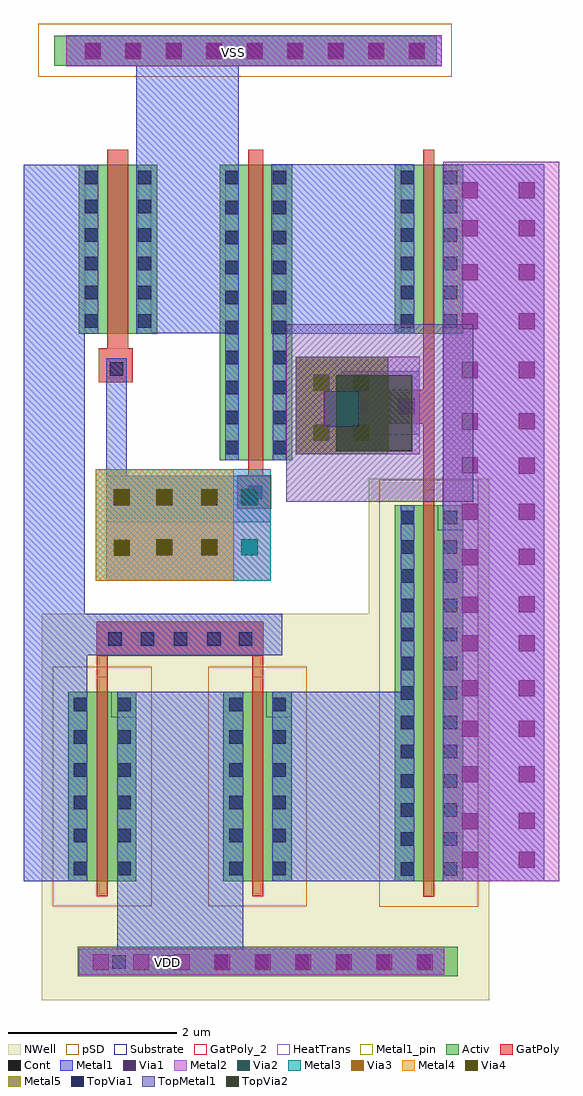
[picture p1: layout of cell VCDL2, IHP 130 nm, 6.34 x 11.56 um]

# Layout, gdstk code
import gdstk
lib = gdstk.Library(unit=1e-6, precision=1e-09)
def R(c, l, rs):  # rectangles x0, y0, x1, y1
    for r in rs: c.add(gdstk.rectangle(r[:2], r[2:], *l))
def A(c, l, x, y, w, h, nx, ny, dx, dy):  # array of equal rectangles
    R(c, l, [(x+i*dx, y+j*dy, x+i*dx+w, y+j*dy+h) for i in range(nx) for j in range(ny)])
def P(c, l, *ps):  # polygons
    for p in ps: c.add(gdstk.Polygon(p, *l))
Activ = (1, 0)
GatPoly = (5, 0)
GatPoly_2 = (5, 2)
Cont = (6, 0)
Metal1 = (8, 0)
Metal1_pin = (8, 2)
Metal2 = (10, 0)
pSD = (14, 0)
Via1 = (19, 0)
Via2 = (29, 0)
Metal3 = (30, 0)
NWell = (31, 0)
Substrate = (40, 0)
Via3 = (49, 0)
Metal4 = (50, 0)
HeatTrans = (51, 0)
Via4 = (66, 0)
Metal5 = (67, 0)
TopVia1 = (125, 0)
TopMetal1 = (126, 0)
TopVia2 = (133, 0)

nmos = lib.new_cell('nmos')
R(nmos, Activ, [(0,0,0.3,0.3), (0,0,0.81,2), (0.51,0,0.81,0.3)])
R(nmos, GatPoly, [(0.34,-0.18,0.47,2.18)])
R(nmos, GatPoly_2, [(0.34,-0.18,0.47,2.18)])
A(nmos, Cont, 0.07, 0.07, 0.16, 0.16, 1, 6, 0, 0.34)
A(nmos, Cont, 0.58, 0.07, 0.16, 0.16, 1, 6, 0, 0.34)
R(nmos, Metal1, [(0.07,0,0.23,2), (0.58,0,0.74,2)])
R(nmos, Metal1_pin, [(0.07,0,0.23,2), (0.58,0,0.74,2)])
R(nmos, HeatTrans, [(0.34,-0.18,0.47,2.18)])
nmos.add(gdstk.Label('nmos', (0.405,1), layer=63, texttype=0))
nmos.add(gdstk.Label('nmos', (0.405,1), layer=51, texttype=0))

nmos_1 = lib.new_cell('nmos$1')
R(nmos_1, Activ, [(0,0,0.3,0.3), (0,0,0.86,3.5), (0.56,0,0.86,0.3)])
R(nmos_1, GatPoly, [(0.34,-0.18,0.52,3.68)])
R(nmos_1, GatPoly_2, [(0.34,-0.18,0.52,3.68)])
A(nmos_1, Cont, 0.07, 0.07, 0.16, 0.16, 1, 9, 0, 0.355)
A(nmos_1, Cont, 0.63, 0.07, 0.16, 0.16, 1, 9, 0, 0.355)
R(nmos_1, Cont, [(0.07,3.27,0.23,3.43), (0.63,3.27,0.79,3.43)])
R(nmos_1, Metal1, [(0.07,0,0.23,3.5), (0.63,0,0.79,3.5)])
R(nmos_1, Metal1_pin, [(0.07,0,0.23,3.5), (0.63,0,0.79,3.5)])
R(nmos_1, HeatTrans, [(0.34,-0.18,0.52,3.68)])
nmos_1.add(gdstk.Label('nmos', (0.43,1.75), layer=63, texttype=0))
nmos_1.add(gdstk.Label('nmos', (0.43,1.75), layer=51, texttype=0))

nmos_2 = lib.new_cell('nmos$2')
R(nmos_2, Activ, [(0,0,0.3,0.3), (0,0,0.93,2), (0.63,0,0.93,0.3)])
R(nmos_2, GatPoly, [(0.34,-0.18,0.59,2.18)])
R(nmos_2, GatPoly_2, [(0.34,-0.18,0.59,2.18)])
A(nmos_2, Cont, 0.07, 0.07, 0.16, 0.16, 1, 6, 0, 0.34)
A(nmos_2, Cont, 0.7, 0.07, 0.16, 0.16, 1, 6, 0, 0.34)
R(nmos_2, Metal1, [(0.07,0,0.23,2), (0.7,0,0.86,2)])
R(nmos_2, Metal1_pin, [(0.07,0,0.23,2), (0.7,0,0.86,2)])
R(nmos_2, HeatTrans, [(0.34,-0.18,0.59,2.18)])
nmos_2.add(gdstk.Label('nmos', (0.465,1), layer=63, texttype=0))
nmos_2.add(gdstk.Label('nmos', (0.465,1), layer=51, texttype=0))

pmos = lib.new_cell('pmos')
R(pmos, Activ, [(0,0,0.3,0.3), (0,0,0.81,4.46), (0.51,0,0.81,0.3)])
R(pmos, GatPoly, [(0.34,-0.18,0.47,4.64), (0.34,-0.18,0.47,4.64)])
A(pmos, Cont, 0.07, 0.07, 0.16, 0.16, 1, 3, 0, 0.345)
A(pmos, Cont, 0.58, 0.07, 0.16, 0.16, 1, 3, 0, 0.345)
A(pmos, Cont, 0.07, 1.11, 0.16, 0.16, 1, 3, 0, 0.345)
A(pmos, Cont, 0.58, 1.11, 0.16, 0.16, 1, 3, 0, 0.345)
A(pmos, Cont, 0.07, 2.15, 0.16, 0.16, 1, 3, 0, 0.345)
A(pmos, Cont, 0.58, 2.15, 0.16, 0.16, 1, 3, 0, 0.345)
A(pmos, Cont, 0.07, 3.19, 0.16, 0.16, 1, 3, 0, 0.345)
A(pmos, Cont, 0.58, 3.19, 0.16, 0.16, 1, 3, 0, 0.345)
R(pmos, Cont, [(0.07,4.23,0.23,4.39), (0.58,4.23,0.74,4.39)])
R(pmos, Metal1, [(0.07,0,0.23,4.46), (0.07,0,0.23,4.46), (0.58,0,0.74,4.46), (0.58,0,0.74,4.46)])
R(pmos, pSD, [(-0.18,-0.3,0.99,4.76)])
R(pmos, NWell, [(-0.31,-0.31,1.12,4.77)])
R(pmos, Substrate, [(0.51,0,0.81,0.3)])
R(pmos, HeatTrans, [(0.34,-0.18,0.47,4.64)])
pmos.add(gdstk.Label('pmos', (0.405,2.23), layer=63, texttype=0))
pmos.add(gdstk.Label('pmos', (0.405,2.23), layer=51, texttype=0))

pmos_1 = lib.new_cell('pmos$1')
R(pmos_1, Activ, [(0,0,0.3,0.3), (0,0,0.81,2.24), (0.51,0,0.81,0.3)])
R(pmos_1, GatPoly, [(0.34,-0.18,0.47,2.42), (0.34,-0.18,0.47,2.42)])
A(pmos_1, Cont, 0.07, 1.23, 0.16, 0.16, 1, 3, 0, 0.39)
A(pmos_1, Cont, 0.58, 1.23, 0.16, 0.16, 1, 3, 0, 0.39)
R(pmos_1, Cont, [(0.07,0.07,0.23,0.23), (0.58,0.07,0.74,0.23), (0.07,0.455,0.23,0.615), (0.58,0.455,0.74,0.615), (0.07,0.845,0.23,1.005), (0.58,0.845,0.74,1.005)])
R(pmos_1, Metal1, [(0.07,0,0.23,2.24), (0.07,0,0.23,2.24), (0.58,0,0.74,2.24), (0.58,0,0.74,2.24)])
R(pmos_1, pSD, [(-0.18,-0.3,0.99,2.54)])
R(pmos_1, NWell, [(-0.31,-0.31,1.12,2.55)])
R(pmos_1, Substrate, [(0.51,0,0.81,0.3)])
R(pmos_1, HeatTrans, [(0.34,-0.18,0.47,2.42)])
pmos_1.add(gdstk.Label('pmos', (0.405,1.12), layer=63, texttype=0))
pmos_1.add(gdstk.Label('pmos', (0.405,1.12), layer=51, texttype=0))

vcdl2 = lib.new_cell('VCDL2')
R(vcdl2, Activ, [(0.64,0.28,5.14,0.63), (0.66,0.305,4.975,0.605), (0.36,11.07,4.895,11.425), (0.575,11.098,2.015,11.398), (0.575,11.098,2.015,11.398), (2.015,11.098,3.455,11.398), (2.015,11.098,3.455,11.398), (3.455,11.098,4.895,11.398), (3.455,11.098,4.895,11.398)])
R(vcdl2, GatPoly, [(0.865,3.83,0.995,4.4), (2.705,3.83,2.835,4.4), (0.865,4.08,2.835,4.48), (1,4.163,2.71,4.403), (2.53,5.82,2.93,6.22), (4.735,6.045,4.865,7.715), (4.33,6.83,4.735,7.23), (0.89,7.32,1.29,7.72)])
R(vcdl2, GatPoly_2, [(0.865,4.08,2.835,4.48)])
A(vcdl2, Cont, 2.255, 0.37, 0.16, 0.16, 6, 1, 0.48, 0)
A(vcdl2, Cont, 1.385, 4.2, 0.16, 0.16, 3, 1, 0.395, 0)
A(vcdl2, Cont, 0.735, 11.17, 0.16, 0.16, 9, 1, 0.48, 0)
R(vcdl2, Cont, [(1.05,0.37,1.21,0.53), (1.63,0.37,1.79,0.53), (1,4.2,1.16,4.36), (2.55,4.2,2.71,4.36), (2.66,5.935,2.82,6.095), (4.45,6.95,4.61,7.11), (1.02,7.395,1.18,7.555), (0.735,11.17,0.895,11.33)])
R(vcdl2, Metal1, [(0.65,0.3,4.98,0.605), (1.04,0.303,1.34,0.603), (1.105,0.6,1.265,1.41), (1.11,0.603,2.6,3.655), (2.435,0.95,2.595,1.41), (1.265,0.953,2.44,1.133), (0,1.405,0.72,9.895), (2.955,1.41,4.47,3.655), (4.965,1.41,6.17,9.905), (3.11,1.833,4.46,2.033), (0.6,3.65,0.755,4.575), (0.755,4.085,3.065,4.575), (1.7,4.163,2.01,4.573), (0,4.753,0.6,5.003), (0,5.003,0.19,9.873), (0.98,5.66,2.925,6.215), (4.965,5.873,5.13,7.903), (0.98,5.883,1.33,6.215), (1.33,5.883,2.88,6.133), (0.98,6.215,1.22,7.605), (3.76,6.7,4.69,7.45), (5.13,6.703,5.43,7.003), (4.37,6.873,4.69,7.193), (2.935,7.895,4.62,9.905), (1.335,7.9,2.55,10.393), (3.1,9.318,4.46,9.518), (0.19,9.653,0.71,9.873), (2.38,9.903,2.54,10.393), (1.5,10.393,2.55,10.553), (1.335,10.553,2.55,11.07), (1.89,10.553,2.05,11.093), (0.505,11.07,4.95,11.428), (0.505,11.07,4.95,11.43), (1.82,11.093,2.12,11.393)])
P(vcdl2, Metal1, [(1.335,9.905),(1.335,10.457),(1.335,10.555),(1.505,10.555),(1.505,9.905)])
R(vcdl2, Metal2, [(0.65,0.3,4.98,0.605), (4.97,1.405,6.345,9.935), (0.975,4.97,2.925,6.215), (3.225,6.465,4.69,7.625), (3.76,6.695,4.69,7.45), (5.13,6.703,5.43,7.003), (5.43,6.723,6.1,6.973), (3.76,6.873,4.69,7.193), (0.505,11.065,4.95,11.43)])
R(vcdl2, pSD, [(0.17,10.94,5.07,11.565), (0.505,11.068,2.085,11.428), (1.945,11.068,4.95,11.428)])
A(vcdl2, Via1, 0.815, 0.355, 0.19, 0.19, 9, 1, 0.48, 0)
A(vcdl2, Via1, 5.19, 7.37, 0.19, 0.19, 1, 3, 0, 0.58)
A(vcdl2, Via1, 5.865, 7.37, 0.19, 0.19, 1, 3, 0, 0.58)
A(vcdl2, Via1, 0.72, 11.15, 0.19, 0.19, 9, 1, 0.48, 0)
R(vcdl2, Via1, [(5.19,1.565,5.38,1.755), (5.865,1.565,6.055,1.755), (5.19,2.025,5.38,2.215), (5.865,2.03,6.055,2.22), (5.19,2.58,5.38,2.77), (5.865,2.58,6.055,2.77), (5.19,3.12,5.38,3.31), (5.865,3.12,6.055,3.31), (5.19,3.6,5.38,3.79), (5.865,3.6,6.055,3.79), (5.19,4.13,5.38,4.32), (5.865,4.13,6.055,4.32), (5.19,4.59,5.38,4.78), (5.865,4.595,6.055,4.785), (5.19,5.15,5.38,5.34), (5.865,5.155,6.055,5.345), (5.19,5.69,5.38,5.88), (5.865,5.69,6.055,5.88), (1.065,5.86,1.255,6.05), (1.57,5.865,1.76,6.055), (2.105,5.865,2.295,6.055), (2.58,5.865,2.77,6.055), (5.865,6.235,6.055,6.425), (5.19,6.24,5.38,6.43), (5.19,6.76,5.38,6.95), (5.865,6.765,6.055,6.955), (3.9,6.94,4.09,7.13), (4.44,6.94,4.63,7.13), (5.19,9.05,5.38,9.24), (5.865,9.05,6.055,9.24), (5.19,9.5,5.38,9.69), (5.865,9.5,6.055,9.69)])
R(vcdl2, Via2, [(1.065,5.265,1.255,5.455), (1.57,5.27,1.76,5.46), (2.105,5.27,2.295,5.46), (2.58,5.27,2.77,5.46), (1.065,5.86,1.255,6.05), (1.57,5.865,1.76,6.055), (2.105,5.865,2.295,6.055), (2.58,5.865,2.77,6.055), (3.43,6.625,3.62,6.815), (3.905,6.625,4.095,6.815), (3.43,7.22,3.62,7.41), (3.905,7.22,4.095,7.41)])
R(vcdl2, Metal3, [(0.855,4.97,2.925,6.29), (3.225,6.465,4.32,7.625)])
R(vcdl2, NWell, [(0.215,0,5.515,3.963), (0.22,0.003,5.505,3.963), (0.22,0.003,5.505,1.103), (0.431,0.078,5.311,0.87), (1.65,1.103,4.08,3.963), (0.215,3.963,4.085,4.575)])
R(vcdl2, Via3, [(1.065,5.265,1.255,5.455), (1.57,5.27,1.76,5.46), (2.105,5.27,2.295,5.46), (1.065,5.86,1.255,6.05), (1.57,5.865,1.76,6.055), (2.105,5.865,2.295,6.055), (3.43,6.625,3.62,6.815), (3.905,6.625,4.095,6.815), (3.43,7.22,3.62,7.41), (3.905,7.22,4.095,7.41)])
R(vcdl2, Metal4, [(0.855,4.97,2.49,6.29), (3.225,6.465,4.32,7.625)])
R(vcdl2, Via4, [(1.065,5.265,1.255,5.455), (1.57,5.27,1.76,5.46), (2.105,5.27,2.295,5.46), (1.065,5.86,1.255,6.05), (1.57,5.865,1.76,6.055), (2.105,5.865,2.295,6.055), (3.43,6.625,3.62,6.815), (3.905,6.625,4.095,6.815), (3.43,7.22,3.62,7.41), (3.905,7.22,4.095,7.41)])
R(vcdl2, Metal5, [(1.065,5.265,1.255,5.455), (3.225,6.465,4.32,7.62)])
R(vcdl2, TopVia1, [(3.555,6.795,3.975,7.215)])
P(vcdl2, TopMetal1, [(3.11,5.905),(3.11,6.815),(3.11,8.01),(5.325,8.01),(5.325,5.905)])
R(vcdl2, TopVia2, [(3.705,6.505,4.605,7.405)])
vcdl2.add(gdstk.Reference(nmos, (4.395,9.895), x_reflection=True))
vcdl2.add(gdstk.Reference(nmos_1, (2.32,9.895), x_reflection=True))
vcdl2.add(gdstk.Reference(nmos_2, (0.65,9.895), x_reflection=True))
vcdl2.add(gdstk.Reference(pmos, (4.395,5.865), x_reflection=True))
vcdl2.add(gdstk.Reference(pmos_1, (0.525,3.65), x_reflection=True))
vcdl2.add(gdstk.Reference(pmos_1, (2.365,3.65), x_reflection=True))
vcdl2.add(gdstk.Label('VSS', (2.485,11.225), layer=8, texttype=25))
vcdl2.add(gdstk.Label('VSS', (2.485,11.225), layer=8, texttype=25))
vcdl2.add(gdstk.Label('VDD', (1.705,0.445), layer=8, texttype=25))

lib.write_gds('VCDL2.gds')
